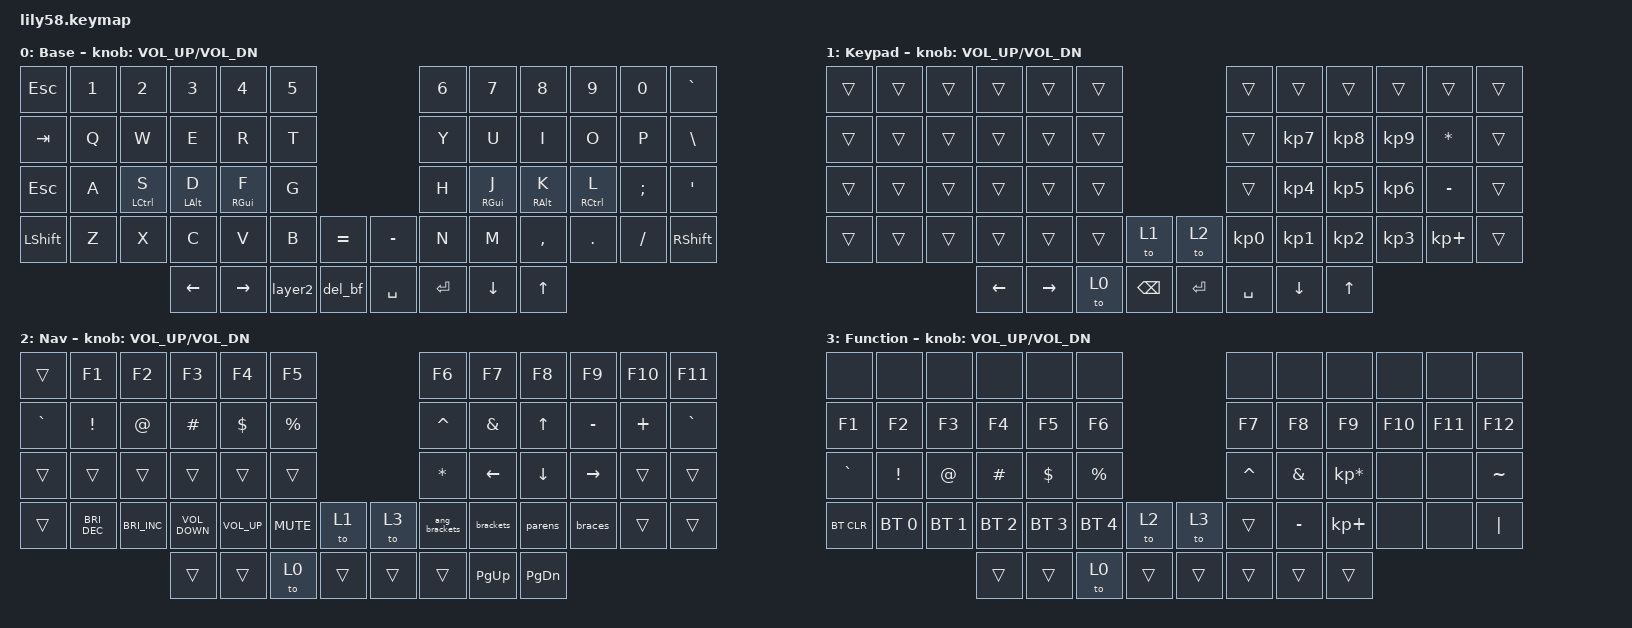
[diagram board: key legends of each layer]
/*
 * Copyright (c) 2020 The ZMK Contributors
 *
 * SPDX-License-Identifier: MIT
 */

#include <behaviors.dtsi>
#include <dt-bindings/zmk/bt.h>
#include <dt-bindings/zmk/keys.h>

/ {
    behaviors {
        hm: homerow_mods {
            compatible = "zmk,behavior-hold-tap";
            label = "HOMEROW_MODS";
            #binding-cells = <2>;
            bindings = <&kp>, <&kp>;

            tapping-term-ms = <300>;
            flavor = "tap-preferred";
        };

        brackets: brackets {
            compatible = "zmk,behavior-mod-morph";
            label = "BRACKETS";
            bindings = <&kp LEFT_BRACKET>, <&kp RIGHT_BRACKET>;

            #binding-cells = <0>;
            mods = <(MOD_LSFT|MOD_RSFT)>;
        };

        parens: parens {
            compatible = "zmk,behavior-mod-morph";
            label = "PARENS";
            bindings = <&kp LEFT_PARENTHESIS>, <&kp LS(RIGHT_PARENTHESIS)>;

            #binding-cells = <0>;
            mods = <(MOD_LSFT|MOD_RSFT)>;
        };

        braces: braces {
            compatible = "zmk,behavior-mod-morph";
            label = "BRACES";
            bindings = <&kp LEFT_BRACE>, <&kp LS(RIGHT_BRACE)>;

            #binding-cells = <0>;
            mods = <(MOD_LSFT|MOD_RSFT)>;
        };

        ang_brackets: ang_brackets {
            compatible = "zmk,behavior-mod-morph";
            label = "ANG_BRACKETS";
            bindings = <&kp LESS_THAN>, <&kp LS(GREATER_THAN)>;

            #binding-cells = <0>;
            mods = <(MOD_LSFT|MOD_RSFT)>;
        };

        layer2: layer2 {
            compatible = "zmk,behavior-mod-morph";
            label = "LAYER2";
            bindings = <&mo 2>, <&to 2>;

            #binding-cells = <0>;
            mods = <(MOD_LSFT|MOD_RSFT)>;
        };

        del_bf: del_bf {
            compatible = "zmk,behavior-mod-morph";
            label = "DEL_BF";
            bindings = <&kp BACKSPACE>, <&kp DELETE>;

            #binding-cells = <0>;
            mods = <(MOD_LSFT|MOD_RSFT)>;
        };
    };

    keymap {
        compatible = "zmk,keymap";

        base_layer {
            // ------------------------------------------------------------------------------------------------------------
            // |  ESC  |  1  |  2  |  3   |  4   |  5   |                   |  6   |  7    |  8    |  9   |   0   |   `   |
            // |  TAB  |  Q  |  W  |  E   |  R   |  T   |                   |  Y   |  U    |  I    |  O   |   P   |   -   |
            // |  CTRL |  A  |  S  |  D   |  F   |  G   |                   |  H   |  J    |  K    |  L   |   ;   |   '   |
            // | SHIFT |  Z  |  X  |  C   |  V   |  B   |   "["  |  |  "]"  |  N   |  M    |  ,    |  .   |   /   | SHIFT |
            //                     | ALT  | GUI  | LOWER|  SPACE |  | ENTER | RAISE| BSPC  | GUI   |

            display-name = "Base";
            bindings = <
&kp ESC     &kp N1  &kp N2       &kp N3          &kp N4           &kp N5                           &kp N6      &kp N7          &kp N8        &kp N9       &kp N0    &kp GRAVE
&kp TAB     &kp Q   &kp W        &kp E           &kp R            &kp T                            &kp Y       &kp U           &kp I         &kp O        &kp P     &kp BSLH
&kp ESCAPE  &kp A   &hm LCTRL S  &hm LALT D      &hm RGUI F       &kp G                            &kp H       &hm RGUI J      &hm RALT K    &hm RCTRL L  &kp SEMI  &kp SQT
&kp LSHFT   &kp Z   &kp X        &kp C           &kp V            &kp B    &kp EQUAL    &kp MINUS  &kp N       &kp M           &kp COMMA     &kp DOT      &kp FSLH  &kp RSHFT
                                 &kp LEFT_ARROW  &kp RIGHT_ARROW  &layer2  &del_bf      &kp SPACE  &kp RETURN  &kp DOWN_ARROW  &kp UP_ARROW
            >;

            sensor-bindings = <&inc_dec_kp C_VOL_UP C_VOL_DN>;
        };

        keypad_layer {
            display-name = "Keypad";
            bindings = <
&trans  &trans  &trans  &trans          &trans           &trans                            &trans     &trans           &trans        &trans           &trans        &trans
&trans  &trans  &trans  &trans          &trans           &trans                            &trans     &kp KP_N7        &kp KP_N8     &kp KP_N9        &kp ASTERISK  &trans
&trans  &trans  &trans  &trans          &trans           &trans                            &trans     &kp KP_NUMBER_4  &kp KP_N5     &kp KP_N6        &kp MINUS     &trans
&trans  &trans  &trans  &trans          &trans           &trans  &to 1            &to 2    &kp KP_N0  &kp KP_N1        &kp KP_N2     &kp KP_NUMBER_3  &kp KP_PLUS   &trans
                        &kp LEFT_ARROW  &kp RIGHT_ARROW  &to 0   &kp BACKSPACE    &kp RET  &kp SPACE  &kp DOWN_ARROW   &kp UP_ARROW
            >;

            sensor-bindings = <&inc_dec_kp C_VOL_UP C_VOL_DN>;
        };

        navigation_layer {
            // ------------------------------------------------------------------------------------------------------------
            // |       |     |     |      |      |      |                   |      |       |       |      |       |       |
            // |   `   |  1  |  2  |  3   |  4   |  5   |                   |  6   |   7   |   8   |  9   |   0   |       |
            // |   F1  |  F2 |  F3 |  F4  |  F5  |  F6  |                   |      |   <-  |   v   |  ^   |  ->   |       |
            // |   F7  |  F8 |  F9 |  F10 |  F11 |  F12 |        |  |       |  +   |   -   |   =   |  [   |   ]   |   \   |
            //                     |      |      |      |        |  |       |      |       |       |

            display-name = "Nav";
            bindings = <
&trans     &kp F1                &kp F2                &kp F3             &kp F4           &kp F5                         &kp F6         &kp F7          &kp F8          &kp F9           &kp F10   &kp F11
&kp GRAVE  &kp EXCL              &kp AT_SIGN           &kp POUND          &kp DOLLAR       &kp PERCENT                    &kp CARET      &kp AMPERSAND   &kp UP_ARROW    &kp MINUS        &kp PLUS  &kp GRAVE
&trans     &trans                &trans                &trans             &trans           &trans                         &kp ASTERISK   &kp LEFT_ARROW  &kp DOWN_ARROW  &kp RIGHT_ARROW  &trans    &trans
&trans     &kp C_BRIGHTNESS_DEC  &kp C_BRIGHTNESS_INC  &kp C_VOLUME_DOWN  &kp C_VOLUME_UP  &kp C_MUTE   &to 1     &to 3   &ang_brackets  &brackets       &parens         &braces          &trans    &trans
                                                       &trans             &trans           &to 0        &trans    &trans  &trans         &kp PAGE_UP     &kp PAGE_DOWN
            >;

            sensor-bindings = <&inc_dec_kp C_VOL_UP C_VOL_DN>;
        };

        function_layer {
            // ------------------------------------------------------------------------------------------------------------
            // | BTCLR | BT1 | BT2 |  BT3 |  BT4 |  BT5 |                   |      |       |       |      |       |       |
            // |  F1   |  F2 |  F3 |  F4  |  F5  |  F6  |                   |  F7  |  F8   |  F9   |  F10 |  F11  |  F12  |
            // |   `   |  !  |  @  |  #   |  $   |  %   |                   |  ^   |  &    |  *    |  (   |   )   |   ~   |
            // |       |     |     |      |      |      |        |  |       |      |  _    |  +    |  {   |   }   |  "|"  |
            //                     |      |      |      |        |  |       |      |       |       |

            display-name = "Function";
            bindings = <
&none       &none         &none         &none         &none         &none                           &none      &none      &none            &none    &none    &none
&kp F1      &kp F2        &kp F3        &kp F4        &kp F5        &kp F6                          &kp F7     &kp F8     &kp F9           &kp F10  &kp F11  &kp F12
&kp GRAVE   &kp EXCL      &kp AT        &kp HASH      &kp DOLLAR    &kp PRCNT                       &kp CARET  &kp AMPS   &kp KP_MULTIPLY  &none    &none    &kp TILDE
&bt BT_CLR  &bt BT_SEL 0  &bt BT_SEL 1  &bt BT_SEL 2  &bt BT_SEL 3  &bt BT_SEL 4  &to 2     &to 3   &trans     &kp MINUS  &kp KP_PLUS      &none    &none    &kp PIPE
                                        &trans        &trans        &to 0         &trans    &trans  &trans     &trans     &trans
            >;

            sensor-bindings = <&inc_dec_kp C_VOL_UP C_VOL_DN>;
        };
    };
};
